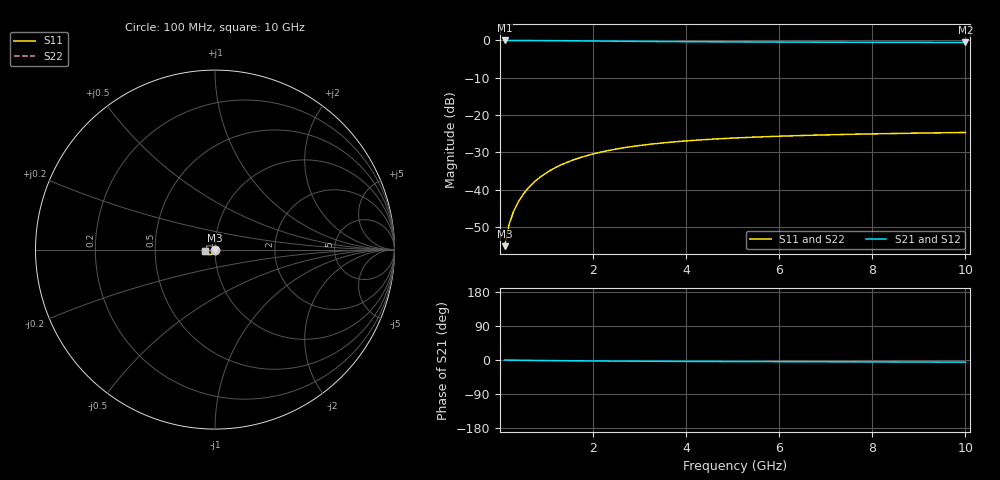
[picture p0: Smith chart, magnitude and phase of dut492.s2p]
! Touchstone file exported from HFSS 2024.1.0
!  File:  C:/UserFiles/LocalFiles/RDL_TSV_Batchsim/temp_TSV1_492_1779700653.aedt
!  Generated:  05:25:23 PM May 25, 2026
!  Design:  TSV1
!  Project:  temp_TSV1_492_1779700653
!  Setup:  Setup1
!  Solution:  Sweep
! Variables:
!  dtsv = 13.26um
!  hbump = 3um
!  htsv = 87.5um
!  lrdl = 252.1521522um
!  p = 40
!  p1 = 55.12um
!  t = 500um
!  trdl = 3um
!  wrdl = 24.89489489um
# GHz S MA R 50.000000
! Terminal data exported
! Port[1] = TSV22_T1
! Port[2] = TSV22_T2
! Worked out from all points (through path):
!   100 points, 100 MHz to 10 GHz, reference 50 ohm
!   highest |S21| = 0.00 dB at 100 MHz (marker M1); lowest = -0.5 dB at 10 GHz (marker M2)
!   lowest |S11| = -55.1 dB at 100 MHz (marker M3), VSWR 1.00, Z = 50 - j0.176 ohm
!   |S11| at or under -10 dB: start of sweep to end of sweep
!   |S22| runs from -55.1 to -24.6 dB; largest |S21 - S12| = 6.1e-15
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0.1  0.001762 -88.9  0.9998 -0.2  0.9998 -0.2  0.001762 -88.9
! Gamma 0 0 0 0
! Port Impedance 50 0 50 0
0.2  0.00352 -92.1  0.9997 -0.3  0.9997 -0.3  0.00352 -92.1
0.3  0.005275 -94.4  0.9994 -0.5  0.9994 -0.5  0.005275 -94.4
0.4  0.00702 -96.5  0.9989 -0.6  0.9989 -0.6  0.00702 -96.5
0.5  0.008748 -98.5  0.9984 -0.8  0.9984 -0.8  0.008748 -98.5
0.6  0.01045 -100.4  0.9978 -0.9  0.9978 -0.9  0.01045 -100.4
0.7  0.01213 -102.3  0.9971 -1.0  0.9971 -1.0  0.01213 -102.3
0.8  0.01377 -104.2  0.9963 -1.2  0.9963 -1.2  0.01377 -104.2
0.9  0.01538 -106.0  0.9955 -1.3  0.9955 -1.3  0.01538 -106.0
1.1  0.01848 -109.5  0.9936 -1.6  0.9936 -1.6  0.01848 -109.5
1.4  0.0228 -114.5  0.9904 -1.9  0.9904 -1.9  0.0228 -114.5
1.6  0.02545 -117.7  0.9881 -2.1  0.9881 -2.1  0.02545 -117.7
1.8  0.02791 -120.7  0.9857 -2.3  0.9857 -2.3  0.02791 -120.7
2.1  0.03127 -124.8  0.9822 -2.6  0.9822 -2.6  0.03127 -124.8
2.5  0.03516 -129.9  0.9776 -2.9  0.9776 -2.9  0.03516 -129.9
2.9  0.03846 -134.5  0.9733 -3.1  0.9733 -3.1  0.03846 -134.5
3.4  0.04189 -139.5  0.9684 -3.4  0.9684 -3.4  0.04189 -139.5
4.2  0.04613 -146.2  0.9619 -3.7  0.9619 -3.7  0.04613 -146.2
5.1  0.04963 -152.5  0.9561 -4.0  0.9561 -4.0  0.04963 -152.5
6.7  0.05383 -161.2  0.9489 -4.6  0.9489 -4.6  0.05383 -161.2
8.4  0.05671 -168.3  0.944 -5.1  0.944 -5.1  0.05671 -168.3
10  0.05862 -173.9  0.9408 -5.6  0.9408 -5.6  0.05862 -173.9
